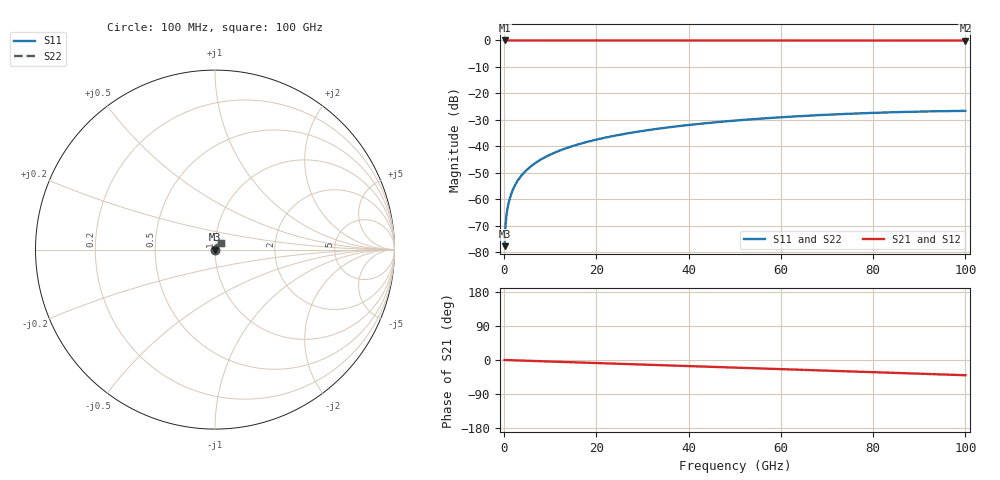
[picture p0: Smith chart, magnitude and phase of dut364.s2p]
! Touchstone file exported from HFSS 2026.1.0
!  File:  C:/ffzhzh/LocalFiles/Ansys_Project_Files/temp_train_TSV_364_1783510259_41296.aedt
!  Generated:  07:32:14 PM Jul  8, 2026
!  Design:  TSV
!  Project:  temp_train_TSV_364_1783510259_41296
! Variables:
!  h_bsmrdl = 2um
!  h_ox = 20um
!  h_rdl = 5um
!  h_sub = 75.78um
!  h_tmrdl = 5um
!  h_tsv = 75.78um
!  h_via = 3um
!  l_bsmrdl = 300um
!  l_sub = 427.16um
!  l_tmrdl = 200um
!  m_sub = 200um
!  pitch = 59.79um
!  r_tsv = 13.58um
!  s_tmrdl = 10um
!  w_bsmrdl = 18um
!  w_sub = 500um
!  w_tmrdl = 12um
!  x_tsv_center1 = 206um
!  x_tsv_center2 = 524um
!  x_tsv_center3 = 736um
!  x_tsv_center4 = 1054um
!  x_tsv_center5 = 1266um
!  x_tsv_center6 = 1584um
# GHz S MA R 50.000000
! Terminal data exported
! Port[1] = TSV1_1_T1
! Port[2] = TSV1_1_T2
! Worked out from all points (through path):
!   1000 points, 100 MHz to 100 GHz, reference 50 ohm
!   highest |S21| = 0.00 dB at 100 MHz (marker M1); lowest = 0.0 dB at 100 GHz (marker M2)
!   group delay of S21, straight-line fit = 1.11 ps
!   lowest |S11| = -77.7 dB at 100 MHz (marker M3), VSWR 1.00, Z = 50 + j0.0105 ohm
!   |S11| at or under -10 dB: start of sweep to end of sweep
!   |S22| runs from -77.7 to -26.6 dB; largest |S21 - S12| = 2.7e-15
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0.1  0.0001299 53.8  0.9999 -0.0  0.9999 -0.0  0.0001299 53.8
! Gamma 0 0 0 0
! Port Impedance 50 0 50 0
0.3  0.0003186 70.1  0.9999 -0.1  0.9999 -0.1  0.0003186 70.1
0.7  0.0006485 73.6  0.9998 -0.3  0.9998 -0.3  0.0006485 73.6
0.8  0.0007237 74.1  0.9998 -0.3  0.9998 -0.3  0.0007237 74.1
1  0.0008707 75.1  0.9998 -0.4  0.9998 -0.4  0.0008707 75.1
1.3  0.001088 76.4  0.9998 -0.5  0.9998 -0.5  0.001088 76.4
1.8  0.001446 77.9  0.9997 -0.7  0.9997 -0.7  0.001446 77.9
2.4  0.001871 78.9  0.9997 -1.0  0.9997 -1.0  0.001871 78.9
3.1  0.002359 79.6  0.9996 -1.3  0.9996 -1.3  0.002359 79.6
3.9  0.002907 80.0  0.9996 -1.6  0.9996 -1.6  0.002907 80.0
4.9  0.003584 80.4  0.9995 -2.0  0.9995 -2.0  0.003584 80.4
6.1  0.00439 80.6  0.9995 -2.5  0.9995 -2.5  0.00439 80.6
8.9  0.006249 80.5  0.9993 -3.6  0.9993 -3.6  0.006249 80.5
12.4  0.00854 79.9  0.9992 -5.0  0.9992 -5.0  0.00854 79.8
16.8  0.01137 78.7  0.999 -6.7  0.999 -6.7  0.01137 78.7
24.2  0.016 76.5  0.9988 -9.7  0.9988 -9.7  0.01601 76.5
33.4  0.02154 73.4  0.9985 -13.4  0.9985 -13.4  0.02154 73.3
41.3  0.02603 70.5  0.9982 -16.5  0.9982 -16.5  0.02603 70.5
50.1  0.03068 67.2  0.998 -20.0  0.998 -20.0  0.03068 67.2
66.7  0.03822 60.9  0.9974 -26.7  0.9974 -26.7  0.03823 60.8
83.4  0.04381 54.4  0.9969 -33.4  0.9969 -33.4  0.04381 54.3
100  0.04671 48.0  0.9963 -40.2  0.9963 -40.2  0.04672 47.8
